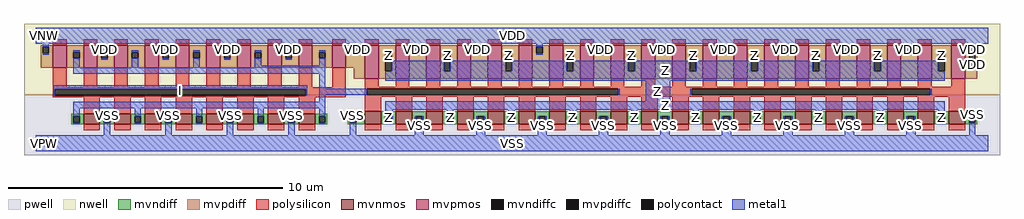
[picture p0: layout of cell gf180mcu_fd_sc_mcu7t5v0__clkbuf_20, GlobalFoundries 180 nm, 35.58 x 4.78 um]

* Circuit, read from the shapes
.subckt gf180mcu_fd_sc_mcu7t5v0__clkbuf_20 I Z VDD VNW VPW VSS
XM1 VSS I n1 VPW nfet_06v0 w=0.38u l=0.6u m=8
XM2 Z n1 VSS VPW nfet_06v0 w=0.47u l=0.6u m=20
XM3 n1 I VDD VNW pfet_06v0 w=0.82u l=0.5u m=10
XM4 Z n1 VDD VNW pfet_06v0 w=1.22u l=0.5u m=20
.ends

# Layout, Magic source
magic
tech gf180mcuD
magscale 1 10
<< nwell >>
rect -86 352 7030 870
<< pwell >>
rect -86 -86 7030 352
<< mvnmos >>
rect 348 138 468 214
rect 572 138 692 214
rect 796 138 916 214
rect 1020 138 1140 214
rect 1244 138 1364 214
rect 1468 138 1588 214
rect 1692 138 1812 214
rect 1916 138 2036 214
rect 2400 138 2520 232
rect 2624 138 2744 232
rect 2848 138 2968 232
rect 3072 138 3192 232
rect 3296 138 3416 232
rect 3520 138 3640 232
rect 3744 138 3864 232
rect 3968 138 4088 232
rect 4192 138 4312 232
rect 4416 138 4536 232
rect 4640 138 4760 232
rect 4864 138 4984 232
rect 5088 138 5208 232
rect 5312 138 5432 232
rect 5536 138 5656 232
rect 5760 138 5880 232
rect 5984 138 6104 232
rect 6208 138 6328 232
rect 6432 138 6552 232
rect 6656 138 6776 232
<< mvpmos >>
rect 124 552 224 716
rect 348 552 448 716
rect 572 552 672 716
rect 796 552 896 716
rect 1020 552 1120 716
rect 1244 552 1344 716
rect 1468 552 1568 716
rect 1692 552 1792 716
rect 1916 552 2016 716
rect 2160 552 2260 716
rect 2400 472 2500 716
rect 2624 472 2724 716
rect 2848 472 2948 716
rect 3072 472 3172 716
rect 3296 472 3396 716
rect 3520 472 3620 716
rect 3744 472 3844 716
rect 3968 472 4068 716
rect 4192 472 4292 716
rect 4416 472 4516 716
rect 4640 472 4740 716
rect 4864 472 4964 716
rect 5088 472 5188 716
rect 5312 472 5412 716
rect 5536 472 5636 716
rect 5760 472 5860 716
rect 5984 472 6084 716
rect 6208 472 6308 716
rect 6432 472 6532 716
rect 6676 472 6776 716
<< mvndiff >>
rect 260 197 348 214
rect 260 151 273 197
rect 319 151 348 197
rect 260 138 348 151
rect 468 197 572 214
rect 468 151 497 197
rect 543 151 572 197
rect 468 138 572 151
rect 692 197 796 214
rect 692 151 721 197
rect 767 151 796 197
rect 692 138 796 151
rect 916 197 1020 214
rect 916 151 945 197
rect 991 151 1020 197
rect 916 138 1020 151
rect 1140 197 1244 214
rect 1140 151 1169 197
rect 1215 151 1244 197
rect 1140 138 1244 151
rect 1364 197 1468 214
rect 1364 151 1393 197
rect 1439 151 1468 197
rect 1364 138 1468 151
rect 1588 197 1692 214
rect 1588 151 1617 197
rect 1663 151 1692 197
rect 1588 138 1692 151
rect 1812 197 1916 214
rect 1812 151 1841 197
rect 1887 151 1916 197
rect 1812 138 1916 151
rect 2036 197 2124 214
rect 2036 151 2065 197
rect 2111 151 2124 197
rect 2036 138 2124 151
rect 2276 197 2400 232
rect 2276 151 2289 197
rect 2335 151 2400 197
rect 2276 138 2400 151
rect 2520 197 2624 232
rect 2520 151 2549 197
rect 2595 151 2624 197
rect 2520 138 2624 151
rect 2744 197 2848 232
rect 2744 151 2773 197
rect 2819 151 2848 197
rect 2744 138 2848 151
rect 2968 197 3072 232
rect 2968 151 2997 197
rect 3043 151 3072 197
rect 2968 138 3072 151
rect 3192 197 3296 232
rect 3192 151 3221 197
rect 3267 151 3296 197
rect 3192 138 3296 151
rect 3416 197 3520 232
rect 3416 151 3445 197
rect 3491 151 3520 197
rect 3416 138 3520 151
rect 3640 197 3744 232
rect 3640 151 3669 197
rect 3715 151 3744 197
rect 3640 138 3744 151
rect 3864 197 3968 232
rect 3864 151 3893 197
rect 3939 151 3968 197
rect 3864 138 3968 151
rect 4088 197 4192 232
rect 4088 151 4117 197
rect 4163 151 4192 197
rect 4088 138 4192 151
rect 4312 197 4416 232
rect 4312 151 4341 197
rect 4387 151 4416 197
rect 4312 138 4416 151
rect 4536 197 4640 232
rect 4536 151 4565 197
rect 4611 151 4640 197
rect 4536 138 4640 151
rect 4760 197 4864 232
rect 4760 151 4789 197
rect 4835 151 4864 197
rect 4760 138 4864 151
rect 4984 197 5088 232
rect 4984 151 5013 197
rect 5059 151 5088 197
rect 4984 138 5088 151
rect 5208 197 5312 232
rect 5208 151 5237 197
rect 5283 151 5312 197
rect 5208 138 5312 151
rect 5432 197 5536 232
rect 5432 151 5461 197
rect 5507 151 5536 197
rect 5432 138 5536 151
rect 5656 197 5760 232
rect 5656 151 5685 197
rect 5731 151 5760 197
rect 5656 138 5760 151
rect 5880 197 5984 232
rect 5880 151 5909 197
rect 5955 151 5984 197
rect 5880 138 5984 151
rect 6104 197 6208 232
rect 6104 151 6133 197
rect 6179 151 6208 197
rect 6104 138 6208 151
rect 6328 197 6432 232
rect 6328 151 6357 197
rect 6403 151 6432 197
rect 6328 138 6432 151
rect 6552 197 6656 232
rect 6552 151 6581 197
rect 6627 151 6656 197
rect 6552 138 6656 151
rect 6776 197 6864 232
rect 6776 151 6805 197
rect 6851 151 6864 197
rect 6776 138 6864 151
<< mvpdiff >>
rect 36 703 124 716
rect 36 657 49 703
rect 95 657 124 703
rect 36 552 124 657
rect 224 665 348 716
rect 224 619 273 665
rect 319 619 348 665
rect 224 552 348 619
rect 448 667 572 716
rect 448 621 477 667
rect 523 621 572 667
rect 448 552 572 621
rect 672 665 796 716
rect 672 619 701 665
rect 747 619 796 665
rect 672 552 796 619
rect 896 667 1020 716
rect 896 621 925 667
rect 971 621 1020 667
rect 896 552 1020 621
rect 1120 665 1244 716
rect 1120 619 1149 665
rect 1195 619 1244 665
rect 1120 552 1244 619
rect 1344 667 1468 716
rect 1344 621 1373 667
rect 1419 621 1468 667
rect 1344 552 1468 621
rect 1568 665 1692 716
rect 1568 619 1597 665
rect 1643 619 1692 665
rect 1568 552 1692 619
rect 1792 667 1916 716
rect 1792 621 1821 667
rect 1867 621 1916 667
rect 1792 552 1916 621
rect 2016 665 2160 716
rect 2016 619 2065 665
rect 2111 619 2160 665
rect 2016 552 2160 619
rect 2260 703 2400 716
rect 2260 657 2325 703
rect 2371 657 2400 703
rect 2260 552 2400 657
rect 2320 472 2400 552
rect 2500 665 2624 716
rect 2500 525 2549 665
rect 2595 525 2624 665
rect 2500 472 2624 525
rect 2724 703 2848 716
rect 2724 657 2753 703
rect 2799 657 2848 703
rect 2724 472 2848 657
rect 2948 665 3072 716
rect 2948 525 2977 665
rect 3023 525 3072 665
rect 2948 472 3072 525
rect 3172 703 3296 716
rect 3172 657 3201 703
rect 3247 657 3296 703
rect 3172 472 3296 657
rect 3396 665 3520 716
rect 3396 525 3425 665
rect 3471 525 3520 665
rect 3396 472 3520 525
rect 3620 703 3744 716
rect 3620 657 3649 703
rect 3695 657 3744 703
rect 3620 472 3744 657
rect 3844 665 3968 716
rect 3844 525 3873 665
rect 3919 525 3968 665
rect 3844 472 3968 525
rect 4068 703 4192 716
rect 4068 657 4097 703
rect 4143 657 4192 703
rect 4068 472 4192 657
rect 4292 665 4416 716
rect 4292 525 4321 665
rect 4367 525 4416 665
rect 4292 472 4416 525
rect 4516 703 4640 716
rect 4516 657 4545 703
rect 4591 657 4640 703
rect 4516 472 4640 657
rect 4740 665 4864 716
rect 4740 525 4769 665
rect 4815 525 4864 665
rect 4740 472 4864 525
rect 4964 703 5088 716
rect 4964 657 4993 703
rect 5039 657 5088 703
rect 4964 472 5088 657
rect 5188 665 5312 716
rect 5188 525 5217 665
rect 5263 525 5312 665
rect 5188 472 5312 525
rect 5412 703 5536 716
rect 5412 657 5441 703
rect 5487 657 5536 703
rect 5412 472 5536 657
rect 5636 665 5760 716
rect 5636 525 5665 665
rect 5711 525 5760 665
rect 5636 472 5760 525
rect 5860 703 5984 716
rect 5860 657 5889 703
rect 5935 657 5984 703
rect 5860 472 5984 657
rect 6084 665 6208 716
rect 6084 525 6113 665
rect 6159 525 6208 665
rect 6084 472 6208 525
rect 6308 703 6432 716
rect 6308 657 6337 703
rect 6383 657 6432 703
rect 6308 472 6432 657
rect 6532 665 6676 716
rect 6532 525 6581 665
rect 6627 525 6676 665
rect 6532 472 6676 525
rect 6776 693 6864 716
rect 6776 553 6805 693
rect 6851 553 6864 693
rect 6776 472 6864 553
<< mvndiffc >>
rect 273 151 319 197
rect 497 151 543 197
rect 721 151 767 197
rect 945 151 991 197
rect 1169 151 1215 197
rect 1393 151 1439 197
rect 1617 151 1663 197
rect 1841 151 1887 197
rect 2065 151 2111 197
rect 2289 151 2335 197
rect 2549 151 2595 197
rect 2773 151 2819 197
rect 2997 151 3043 197
rect 3221 151 3267 197
rect 3445 151 3491 197
rect 3669 151 3715 197
rect 3893 151 3939 197
rect 4117 151 4163 197
rect 4341 151 4387 197
rect 4565 151 4611 197
rect 4789 151 4835 197
rect 5013 151 5059 197
rect 5237 151 5283 197
rect 5461 151 5507 197
rect 5685 151 5731 197
rect 5909 151 5955 197
rect 6133 151 6179 197
rect 6357 151 6403 197
rect 6581 151 6627 197
rect 6805 151 6851 197
<< mvpdiffc >>
rect 49 657 95 703
rect 273 619 319 665
rect 477 621 523 667
rect 701 619 747 665
rect 925 621 971 667
rect 1149 619 1195 665
rect 1373 621 1419 667
rect 1597 619 1643 665
rect 1821 621 1867 667
rect 2065 619 2111 665
rect 2325 657 2371 703
rect 2549 525 2595 665
rect 2753 657 2799 703
rect 2977 525 3023 665
rect 3201 657 3247 703
rect 3425 525 3471 665
rect 3649 657 3695 703
rect 3873 525 3919 665
rect 4097 657 4143 703
rect 4321 525 4367 665
rect 4545 657 4591 703
rect 4769 525 4815 665
rect 4993 657 5039 703
rect 5217 525 5263 665
rect 5441 657 5487 703
rect 5665 525 5711 665
rect 5889 657 5935 703
rect 6113 525 6159 665
rect 6337 657 6383 703
rect 6581 525 6627 665
rect 6805 553 6851 693
<< polysilicon >>
rect 124 716 224 760
rect 348 716 448 760
rect 572 716 672 760
rect 796 716 896 760
rect 1020 716 1120 760
rect 1244 716 1344 760
rect 1468 716 1568 760
rect 1692 716 1792 760
rect 1916 716 2016 760
rect 2160 716 2260 760
rect 2400 716 2500 760
rect 2624 716 2724 760
rect 2848 716 2948 760
rect 3072 716 3172 760
rect 3296 716 3396 760
rect 3520 716 3620 760
rect 3744 716 3844 760
rect 3968 716 4068 760
rect 4192 716 4292 760
rect 4416 716 4516 760
rect 4640 716 4740 760
rect 4864 716 4964 760
rect 5088 716 5188 760
rect 5312 716 5412 760
rect 5536 716 5636 760
rect 5760 716 5860 760
rect 5984 716 6084 760
rect 6208 716 6308 760
rect 6432 716 6532 760
rect 6676 716 6776 760
rect 124 407 224 552
rect 348 407 448 552
rect 572 407 672 552
rect 796 407 896 552
rect 1020 407 1120 552
rect 1244 407 1344 552
rect 1468 407 1568 552
rect 1692 407 1792 552
rect 1916 407 2016 552
rect 2160 407 2260 552
rect 124 394 2260 407
rect 124 348 137 394
rect 1969 348 2260 394
rect 124 335 2260 348
rect 2400 412 2500 472
rect 2624 412 2724 472
rect 2848 412 2948 472
rect 3072 412 3172 472
rect 3296 412 3396 472
rect 3520 412 3620 472
rect 3744 412 3844 472
rect 3968 412 4068 472
rect 4192 412 4292 472
rect 4416 412 4516 472
rect 4640 412 4740 472
rect 4864 412 4964 472
rect 5088 412 5188 472
rect 5312 412 5412 472
rect 5536 412 5636 472
rect 5760 412 5860 472
rect 5984 412 6084 472
rect 6208 412 6308 472
rect 6432 412 6532 472
rect 6676 412 6776 472
rect 2400 399 6776 412
rect 2400 353 2413 399
rect 4245 353 4783 399
rect 6521 353 6776 399
rect 2400 340 6776 353
rect 348 214 468 335
rect 572 214 692 335
rect 796 214 916 335
rect 1020 214 1140 335
rect 1244 214 1364 335
rect 1468 214 1588 335
rect 1692 214 1812 335
rect 1916 214 2036 335
rect 2400 232 2520 340
rect 2624 232 2744 340
rect 2848 232 2968 340
rect 3072 232 3192 340
rect 3296 232 3416 340
rect 3520 232 3640 340
rect 3744 232 3864 340
rect 3968 232 4088 340
rect 4192 232 4312 340
rect 4416 232 4536 340
rect 4640 232 4760 340
rect 4864 232 4984 340
rect 5088 232 5208 340
rect 5312 232 5432 340
rect 5536 232 5656 340
rect 5760 232 5880 340
rect 5984 232 6104 340
rect 6208 232 6328 340
rect 6432 232 6552 340
rect 6656 232 6776 340
rect 348 94 468 138
rect 572 94 692 138
rect 796 94 916 138
rect 1020 94 1140 138
rect 1244 94 1364 138
rect 1468 94 1588 138
rect 1692 94 1812 138
rect 1916 94 2036 138
rect 2400 94 2520 138
rect 2624 94 2744 138
rect 2848 94 2968 138
rect 3072 94 3192 138
rect 3296 94 3416 138
rect 3520 94 3640 138
rect 3744 94 3864 138
rect 3968 94 4088 138
rect 4192 94 4312 138
rect 4416 94 4536 138
rect 4640 94 4760 138
rect 4864 94 4984 138
rect 5088 94 5208 138
rect 5312 94 5432 138
rect 5536 94 5656 138
rect 5760 94 5880 138
rect 5984 94 6104 138
rect 6208 94 6328 138
rect 6432 94 6552 138
rect 6656 94 6776 138
<< polycontact >>
rect 137 348 1969 394
rect 2413 353 4245 399
rect 4783 353 6521 399
<< metal1 >>
rect 0 724 6944 844
rect 49 703 95 724
rect 49 646 95 657
rect 273 665 319 678
rect 273 552 319 619
rect 477 667 523 724
rect 477 610 523 621
rect 701 665 747 678
rect 701 552 747 619
rect 925 667 971 724
rect 925 610 971 621
rect 1149 665 1195 678
rect 1149 552 1195 619
rect 1373 667 1419 724
rect 1373 610 1419 621
rect 1597 665 1643 678
rect 1597 564 1643 619
rect 1821 667 1867 724
rect 2325 703 2371 724
rect 1821 610 1867 621
rect 2065 665 2111 678
rect 2753 703 2799 724
rect 2325 646 2371 657
rect 2549 665 2595 678
rect 2065 564 2111 619
rect 1597 552 2111 564
rect 273 506 2111 552
rect 126 394 1980 424
rect 126 348 137 394
rect 1969 348 1980 394
rect 2065 399 2111 506
rect 3201 703 3247 724
rect 2753 646 2799 657
rect 2977 665 3023 678
rect 2595 525 2977 600
rect 3649 703 3695 724
rect 3201 646 3247 657
rect 3425 665 3471 678
rect 3023 525 3425 600
rect 4097 703 4143 724
rect 3649 646 3695 657
rect 3873 665 3919 678
rect 3471 525 3873 600
rect 4545 703 4591 724
rect 4097 646 4143 657
rect 4321 665 4367 678
rect 3919 525 4321 600
rect 4993 703 5039 724
rect 4545 646 4591 657
rect 4769 665 4815 678
rect 4367 525 4769 600
rect 5441 703 5487 724
rect 4993 646 5039 657
rect 5217 665 5263 678
rect 4815 525 5217 600
rect 5889 703 5935 724
rect 5441 646 5487 657
rect 5665 665 5711 678
rect 5263 525 5665 600
rect 6337 703 6383 724
rect 5889 646 5935 657
rect 6113 665 6159 678
rect 5711 525 6113 600
rect 6805 693 6851 724
rect 6337 646 6383 657
rect 6581 665 6627 678
rect 6159 525 6581 600
rect 6805 542 6851 553
rect 2549 454 6627 525
rect 2065 353 2413 399
rect 4245 353 4256 399
rect 2065 301 2111 353
rect 4446 307 4626 454
rect 4772 353 4783 399
rect 6521 353 6532 399
rect 273 254 2111 301
rect 273 197 319 254
rect 273 137 319 151
rect 497 197 543 208
rect 497 60 543 151
rect 721 197 767 254
rect 721 137 767 151
rect 945 197 991 208
rect 945 60 991 151
rect 1169 197 1215 254
rect 1169 137 1215 151
rect 1393 197 1439 208
rect 1393 60 1439 151
rect 1617 197 1663 254
rect 1617 137 1663 151
rect 1841 197 1887 208
rect 1841 60 1887 151
rect 2065 197 2111 254
rect 2549 243 6627 307
rect 2065 137 2111 151
rect 2289 197 2335 208
rect 2289 60 2335 151
rect 2549 197 2601 243
rect 2997 197 3043 243
rect 3445 197 3491 243
rect 3893 197 3939 243
rect 4341 197 4387 243
rect 4789 197 4835 243
rect 5237 197 5283 243
rect 5685 197 5731 243
rect 6133 197 6179 243
rect 6581 197 6627 243
rect 2595 151 2601 197
rect 2549 137 2601 151
rect 2762 151 2773 197
rect 2819 151 2830 197
rect 2762 60 2830 151
rect 2997 137 3043 151
rect 3210 151 3221 197
rect 3267 151 3278 197
rect 3210 60 3278 151
rect 3445 137 3491 151
rect 3658 151 3669 197
rect 3715 151 3726 197
rect 3658 60 3726 151
rect 3893 137 3939 151
rect 4106 151 4117 197
rect 4163 151 4174 197
rect 4106 60 4174 151
rect 4341 137 4387 151
rect 4554 151 4565 197
rect 4611 151 4622 197
rect 4554 60 4622 151
rect 4789 137 4835 151
rect 5002 151 5013 197
rect 5059 151 5070 197
rect 5002 60 5070 151
rect 5237 137 5283 151
rect 5450 151 5461 197
rect 5507 151 5518 197
rect 5450 60 5518 151
rect 5685 137 5731 151
rect 5898 151 5909 197
rect 5955 151 5966 197
rect 5898 60 5966 151
rect 6133 137 6179 151
rect 6346 151 6357 197
rect 6403 151 6414 197
rect 6346 60 6414 151
rect 6581 137 6627 151
rect 6805 197 6851 210
rect 6805 60 6851 151
rect 0 -60 6944 60
<< labels >>
flabel metal1 s 0 724 6944 844 0 FreeSans 600 0 0 0 VDD
port 3 nsew power bidirectional abutment
flabel metal1 s 6805 208 6851 210 0 FreeSans 600 0 0 0 VSS
port 6 nsew ground bidirectional abutment
flabel metal1 s 6581 600 6627 678 0 FreeSans 600 0 0 0 Z
port 2 nsew default output
flabel metal1 s 126 348 1980 424 0 FreeSans 600 0 0 0 I
port 1 nsew default input
flabel nwell s 10 734 110 834 0 FreeSans 400 0 0 0 VNW
port 4 nsew power bidirectional
flabel pwell s 10 -50 110 50 0 FreeSans 400 0 0 0 VPW
port 5 nsew ground bidirectional
rlabel metal1 s 6113 600 6159 678 1 Z
port 2 nsew default output
rlabel metal1 s 5665 600 5711 678 1 Z
port 2 nsew default output
rlabel metal1 s 5217 600 5263 678 1 Z
port 2 nsew default output
rlabel metal1 s 4769 600 4815 678 1 Z
port 2 nsew default output
rlabel metal1 s 4321 600 4367 678 1 Z
port 2 nsew default output
rlabel metal1 s 3873 600 3919 678 1 Z
port 2 nsew default output
rlabel metal1 s 3425 600 3471 678 1 Z
port 2 nsew default output
rlabel metal1 s 2977 600 3023 678 1 Z
port 2 nsew default output
rlabel metal1 s 2549 600 2595 678 1 Z
port 2 nsew default output
rlabel metal1 s 2549 454 6627 600 1 Z
port 2 nsew default output
rlabel metal1 s 4446 307 4626 454 1 Z
port 2 nsew default output
rlabel metal1 s 2549 243 6627 307 1 Z
port 2 nsew default output
rlabel metal1 s 6581 137 6627 243 1 Z
port 2 nsew default output
rlabel metal1 s 6133 137 6179 243 1 Z
port 2 nsew default output
rlabel metal1 s 5685 137 5731 243 1 Z
port 2 nsew default output
rlabel metal1 s 5237 137 5283 243 1 Z
port 2 nsew default output
rlabel metal1 s 4789 137 4835 243 1 Z
port 2 nsew default output
rlabel metal1 s 4341 137 4387 243 1 Z
port 2 nsew default output
rlabel metal1 s 3893 137 3939 243 1 Z
port 2 nsew default output
rlabel metal1 s 3445 137 3491 243 1 Z
port 2 nsew default output
rlabel metal1 s 2997 137 3043 243 1 Z
port 2 nsew default output
rlabel metal1 s 2549 137 2601 243 1 Z
port 2 nsew default output
rlabel metal1 s 6805 646 6851 724 1 VDD
port 3 nsew power bidirectional abutment
rlabel metal1 s 6337 646 6383 724 1 VDD
port 3 nsew power bidirectional abutment
rlabel metal1 s 5889 646 5935 724 1 VDD
port 3 nsew power bidirectional abutment
rlabel metal1 s 5441 646 5487 724 1 VDD
port 3 nsew power bidirectional abutment
rlabel metal1 s 4993 646 5039 724 1 VDD
port 3 nsew power bidirectional abutment
rlabel metal1 s 4545 646 4591 724 1 VDD
port 3 nsew power bidirectional abutment
rlabel metal1 s 4097 646 4143 724 1 VDD
port 3 nsew power bidirectional abutment
rlabel metal1 s 3649 646 3695 724 1 VDD
port 3 nsew power bidirectional abutment
rlabel metal1 s 3201 646 3247 724 1 VDD
port 3 nsew power bidirectional abutment
rlabel metal1 s 2753 646 2799 724 1 VDD
port 3 nsew power bidirectional abutment
rlabel metal1 s 2325 646 2371 724 1 VDD
port 3 nsew power bidirectional abutment
rlabel metal1 s 1821 646 1867 724 1 VDD
port 3 nsew power bidirectional abutment
rlabel metal1 s 1373 646 1419 724 1 VDD
port 3 nsew power bidirectional abutment
rlabel metal1 s 925 646 971 724 1 VDD
port 3 nsew power bidirectional abutment
rlabel metal1 s 477 646 523 724 1 VDD
port 3 nsew power bidirectional abutment
rlabel metal1 s 49 646 95 724 1 VDD
port 3 nsew power bidirectional abutment
rlabel metal1 s 6805 610 6851 646 1 VDD
port 3 nsew power bidirectional abutment
rlabel metal1 s 1821 610 1867 646 1 VDD
port 3 nsew power bidirectional abutment
rlabel metal1 s 1373 610 1419 646 1 VDD
port 3 nsew power bidirectional abutment
rlabel metal1 s 925 610 971 646 1 VDD
port 3 nsew power bidirectional abutment
rlabel metal1 s 477 610 523 646 1 VDD
port 3 nsew power bidirectional abutment
rlabel metal1 s 6805 542 6851 610 1 VDD
port 3 nsew power bidirectional abutment
rlabel metal1 s 6805 197 6851 208 1 VSS
port 6 nsew ground bidirectional abutment
rlabel metal1 s 2289 197 2335 208 1 VSS
port 6 nsew ground bidirectional abutment
rlabel metal1 s 1841 197 1887 208 1 VSS
port 6 nsew ground bidirectional abutment
rlabel metal1 s 1393 197 1439 208 1 VSS
port 6 nsew ground bidirectional abutment
rlabel metal1 s 945 197 991 208 1 VSS
port 6 nsew ground bidirectional abutment
rlabel metal1 s 497 197 543 208 1 VSS
port 6 nsew ground bidirectional abutment
rlabel metal1 s 6805 60 6851 197 1 VSS
port 6 nsew ground bidirectional abutment
rlabel metal1 s 6346 60 6414 197 1 VSS
port 6 nsew ground bidirectional abutment
rlabel metal1 s 5898 60 5966 197 1 VSS
port 6 nsew ground bidirectional abutment
rlabel metal1 s 5450 60 5518 197 1 VSS
port 6 nsew ground bidirectional abutment
rlabel metal1 s 5002 60 5070 197 1 VSS
port 6 nsew ground bidirectional abutment
rlabel metal1 s 4554 60 4622 197 1 VSS
port 6 nsew ground bidirectional abutment
rlabel metal1 s 4106 60 4174 197 1 VSS
port 6 nsew ground bidirectional abutment
rlabel metal1 s 3658 60 3726 197 1 VSS
port 6 nsew ground bidirectional abutment
rlabel metal1 s 3210 60 3278 197 1 VSS
port 6 nsew ground bidirectional abutment
rlabel metal1 s 2762 60 2830 197 1 VSS
port 6 nsew ground bidirectional abutment
rlabel metal1 s 2289 60 2335 197 1 VSS
port 6 nsew ground bidirectional abutment
rlabel metal1 s 1841 60 1887 197 1 VSS
port 6 nsew ground bidirectional abutment
rlabel metal1 s 1393 60 1439 197 1 VSS
port 6 nsew ground bidirectional abutment
rlabel metal1 s 945 60 991 197 1 VSS
port 6 nsew ground bidirectional abutment
rlabel metal1 s 497 60 543 197 1 VSS
port 6 nsew ground bidirectional abutment
rlabel metal1 s 0 -60 6944 60 1 VSS
port 6 nsew ground bidirectional abutment
<< properties >>
string FIXED_BBOX 0 0 6944 784
string GDS_END 815162
string GDS_FILE $PDKPATH/libs.ref/gf180mcu_fd_sc_mcu7t5v0/gds/gf180mcu_fd_sc_mcu7t5v0.gds
string GDS_START 801190
string LEFclass core
string LEFsite GF018hv5v_mcu_sc7
string LEFsymmetry X Y
<< end >>
